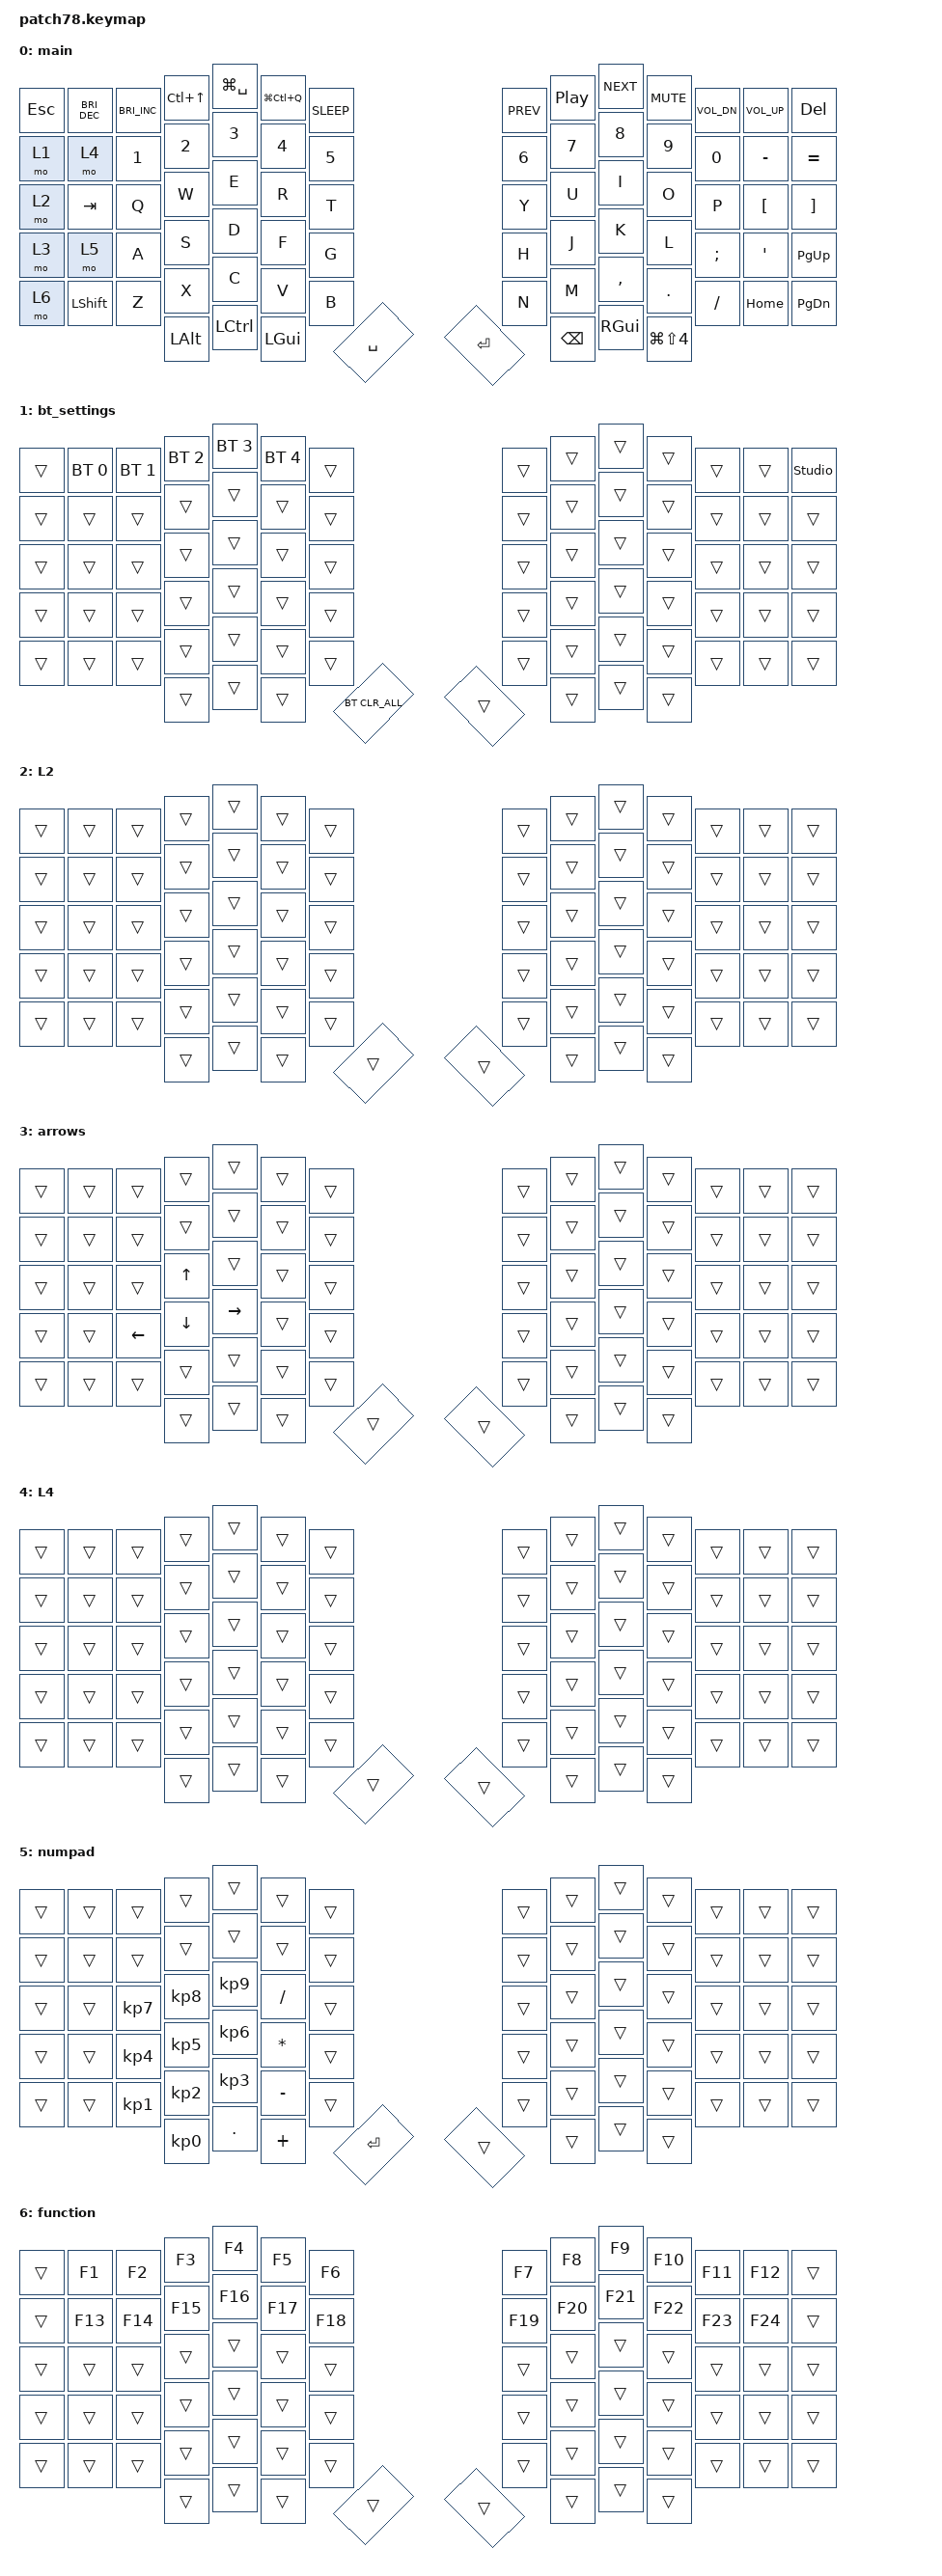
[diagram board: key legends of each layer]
/*
 * Copyright (c) 2025 The ZMK Contributors
 *
 * SPDX-License-Identifier: MIT
 */

#include <behaviors.dtsi>
#include <dt-bindings/zmk/bt.h>
#include <dt-bindings/zmk/keys.h>

#define DEFAULT 0
#define LOWER  1
#define RAISE  2

/ {
    keymap {
        compatible = "zmk,keymap";

        main {

            bindings = <
&kp ESC  &kp C_BRIGHTNESS_DEC  &kp C_BRIGHTNESS_INC  &kp LC(UP_ARROW)  &kp LG(SPACE)  &kp LG(LC(Q))  &kp C_SLEEP  &kp C_PREV  &kp C_PLAY_PAUSE  &kp C_NEXT     &kp C_MUTE            &kp C_VOL_DN  &kp C_VOL_UP      &kp DEL
&mo 1    &mo 4                 &kp N1                &kp N2            &kp N3         &kp N4         &kp N5       &kp N6      &kp N7            &kp N8         &kp N9                &kp N0        &kp MINUS         &kp EQUAL
&mo 2    &kp TAB               &kp Q                 &kp W             &kp E          &kp R          &kp T        &kp Y       &kp U             &kp I          &kp O                 &kp P         &kp LEFT_BRACKET  &kp RIGHT_BRACKET
&mo 3    &mo 5                 &kp A                 &kp S             &kp D          &kp F          &kp G        &kp H       &kp J             &kp K          &kp L                 &kp SEMI      &kp SINGLE_QUOTE  &kp PG_UP
&mo 6    &kp LSHIFT            &kp Z                 &kp X             &kp C          &kp V          &kp B        &kp N       &kp M             &kp COMMA      &kp DOT               &kp FSLH      &kp HOME          &kp PG_DN
                                                     &kp LALT          &kp LCTRL      &kp LGUI       &kp SPACE    &kp RET     &kp BACKSPACE     &kp RIGHT_GUI  &kp LG(LS(NUMBER_4))
            >;
        };

        bt_settings {
            bindings = <
&trans  &bt BT_SEL 0  &bt BT_SEL 1  &bt BT_SEL 2  &bt BT_SEL 3  &bt BT_SEL 4  &trans          &trans  &trans  &trans  &trans  &trans  &trans  &studio_unlock
&trans  &trans        &trans        &trans        &trans        &trans        &trans          &trans  &trans  &trans  &trans  &trans  &trans  &trans
&trans  &trans        &trans        &trans        &trans        &trans        &trans          &trans  &trans  &trans  &trans  &trans  &trans  &trans
&trans  &trans        &trans        &trans        &trans        &trans        &trans          &trans  &trans  &trans  &trans  &trans  &trans  &trans
&trans  &trans        &trans        &trans        &trans        &trans        &trans          &trans  &trans  &trans  &trans  &trans  &trans  &trans
                                    &trans        &trans        &trans        &bt BT_CLR_ALL  &trans  &trans  &trans  &trans
            >;
        };

        L2 {
            bindings = <
&trans  &trans  &trans  &trans  &trans  &trans  &trans  &trans  &trans  &trans  &trans  &trans  &trans  &trans
&trans  &trans  &trans  &trans  &trans  &trans  &trans  &trans  &trans  &trans  &trans  &trans  &trans  &trans
&trans  &trans  &trans  &trans  &trans  &trans  &trans  &trans  &trans  &trans  &trans  &trans  &trans  &trans
&trans  &trans  &trans  &trans  &trans  &trans  &trans  &trans  &trans  &trans  &trans  &trans  &trans  &trans
&trans  &trans  &trans  &trans  &trans  &trans  &trans  &trans  &trans  &trans  &trans  &trans  &trans  &trans
                        &trans  &trans  &trans  &trans  &trans  &trans  &trans  &trans
            >;
        };

        arrows {
            bindings = <
&trans  &trans  &trans          &trans          &trans           &trans  &trans  &trans  &trans  &trans  &trans  &trans  &trans  &trans
&trans  &trans  &trans          &trans          &trans           &trans  &trans  &trans  &trans  &trans  &trans  &trans  &trans  &trans
&trans  &trans  &trans          &kp UP_ARROW    &trans           &trans  &trans  &trans  &trans  &trans  &trans  &trans  &trans  &trans
&trans  &trans  &kp LEFT_ARROW  &kp DOWN_ARROW  &kp RIGHT_ARROW  &trans  &trans  &trans  &trans  &trans  &trans  &trans  &trans  &trans
&trans  &trans  &trans          &trans          &trans           &trans  &trans  &trans  &trans  &trans  &trans  &trans  &trans  &trans
                                &trans          &trans           &trans  &trans  &trans  &trans  &trans  &trans
            >;
        };

        L4 {
            bindings = <
&trans  &trans  &trans  &trans  &trans  &trans  &trans  &trans  &trans  &trans  &trans  &trans  &trans  &trans
&trans  &trans  &trans  &trans  &trans  &trans  &trans  &trans  &trans  &trans  &trans  &trans  &trans  &trans
&trans  &trans  &trans  &trans  &trans  &trans  &trans  &trans  &trans  &trans  &trans  &trans  &trans  &trans
&trans  &trans  &trans  &trans  &trans  &trans  &trans  &trans  &trans  &trans  &trans  &trans  &trans  &trans
&trans  &trans  &trans  &trans  &trans  &trans  &trans  &trans  &trans  &trans  &trans  &trans  &trans  &trans
                        &trans  &trans  &trans  &trans  &trans  &trans  &trans  &trans
            >;
        };

        numpad {
            bindings = <
&trans  &trans  &trans           &trans           &trans           &trans        &trans      &trans  &trans  &trans  &trans  &trans  &trans  &trans
&trans  &trans  &trans           &trans           &trans           &trans        &trans      &trans  &trans  &trans  &trans  &trans  &trans  &trans
&trans  &trans  &kp KP_NUMBER_7  &kp KP_NUMBER_8  &kp KP_NUMBER_9  &kp SLASH     &trans      &trans  &trans  &trans  &trans  &trans  &trans  &trans
&trans  &trans  &kp KP_NUMBER_4  &kp KP_NUMBER_5  &kp KP_NUMBER_6  &kp ASTERISK  &trans      &trans  &trans  &trans  &trans  &trans  &trans  &trans
&trans  &trans  &kp KP_NUMBER_1  &kp KP_NUMBER_2  &kp KP_NUMBER_3  &kp MINUS     &trans      &trans  &trans  &trans  &trans  &trans  &trans  &trans
                                 &kp KP_NUMBER_0  &kp PERIOD       &kp PLUS      &kp RETURN  &trans  &trans  &trans  &trans
            >;
        };

        function {
            bindings = <
&trans  &kp F1   &kp F2   &kp F3   &kp F4   &kp F5   &kp F6   &kp F7   &kp F8   &kp F9   &kp F10  &kp F11  &kp F12  &trans
&trans  &kp F13  &kp F14  &kp F15  &kp F16  &kp F17  &kp F18  &kp F19  &kp F20  &kp F21  &kp F22  &kp F23  &kp F24  &trans
&trans  &trans   &trans   &trans   &trans   &trans   &trans   &trans   &trans   &trans   &trans   &trans   &trans   &trans
&trans  &trans   &trans   &trans   &trans   &trans   &trans   &trans   &trans   &trans   &trans   &trans   &trans   &trans
&trans  &trans   &trans   &trans   &trans   &trans   &trans   &trans   &trans   &trans   &trans   &trans   &trans   &trans
                          &trans   &trans   &trans   &trans   &trans   &trans   &trans   &trans
            >;
        };
    };
};
